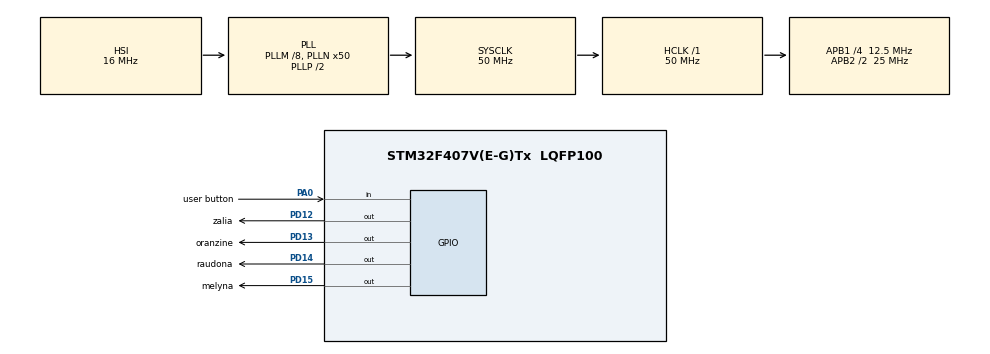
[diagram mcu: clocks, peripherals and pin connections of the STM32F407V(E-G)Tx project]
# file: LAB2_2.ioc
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Mcu.Family=STM32F4
Mcu.Name=STM32F407V(E-G)Tx
Mcu.Package=LQFP100
NVIC.PriorityGroup=NVIC_PRIORITYGROUP_0
PA0-WKUP.GPIO_Label=user button
PA0-WKUP.Signal=GPIO_Input
PD12.GPIO_Label=zalia
PD12.Signal=GPIO_Output
PD13.GPIO_Label=oranzine
PD13.Signal=GPIO_Output
PD14.GPIO_Label=raudona
PD14.Signal=GPIO_Output
PD15.GPIO_Label=melyna
PD15.Signal=GPIO_Output
ProjectManager.HeapSize=0x200
ProjectManager.StackSize=0x400
ProjectManager.TargetToolchain=STM32CubeIDE
RCC.48MHZClocksFreq_Value=14285714.285714285
RCC.AHBFreq_Value=50000000
RCC.APB1CLKDivider=RCC_HCLK_DIV4
RCC.APB1Freq_Value=12500000
RCC.APB1TimFreq_Value=25000000
RCC.APB2CLKDivider=RCC_HCLK_DIV2
RCC.APB2Freq_Value=25000000
RCC.APB2TimFreq_Value=50000000
RCC.CortexFreq_Value=50000000
RCC.HCLKFreq_Value=50000000
RCC.HSE_VALUE=8000000
RCC.HSI_VALUE=16000000
RCC.PLLM=8
RCC.PLLN=50
RCC.PLLQ=7
RCC.SYSCLKFreq_VALUE=50000000
RCC.SYSCLKSource=RCC_SYSCLKSOURCE_PLLCLK
RCC.VCOOutputFreq_Value=100000000
board=STM32F407G-DISC1

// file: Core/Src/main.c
/* USER CODE BEGIN Header */
/**
  ******************************************************************************
  * @file           : main.c
  * @brief          : Main program body
  ******************************************************************************
  * @attention
  *
  * Copyright (c) 2024 STMicroelectronics.
  * All rights reserved.
  *
  * This software is licensed under terms that can be found in the LICENSE file
  * in the root directory of this software component.
  * If no LICENSE file comes with this software, it is provided AS-IS.
  *
  ******************************************************************************
  */
/* USER CODE END Header */
#include "main.h"

/* USER CODE BEGIN PV */
uint32_t blink_frequency_ms = 1000; // Initial blinking frequency is 1 second
/* USER CODE END PV */

void SystemClock_Config(void);
void GPIO_Init(void);

int main(void)
{
  /* USER CODE BEGIN 1 */
	 uint8_t button_state = 0;
	 uint8_t last_button_state = 0;
  /* USER CODE END 1 */

  /* MCU Configuration--------------------------------------------------------*/

  /* Reset of all peripherals, Initializes the Flash interface and the Systick. */
  HAL_Init();

  /* Configure the system clock */
  SystemClock_Config();

  /* Initialize all configured peripherals */
  GPIO_Init();

  /* Infinite loop */
  while (1)
  {

    /* USER CODE BEGIN 3 */
	  //1.1
	  // Binary 0: Both LEDs off
//	         GPIOD->ODR &= ~(1 << 15); // Clear bit 15 of GPIOA_ODR
//	         GPIOD->ODR &= ~(1 << 12); // Clear bit 12 of GPIOB_ODR
//	         HAL_Delay(1000);
//
//	         // Binary 2: Blue LED on
//	         GPIOD->ODR |= (1 << 15);  // Set bit 15 of GPIOA_ODR
//	         GPIOD->ODR &= ~(1 << 12); // Clear bit 12 of GPIOB_ODR
//	         HAL_Delay(1000);
//
//	         // Binary 3: Both LEDs on
//	         GPIOD->ODR |= (1 << 15);  // Set bit 15 of GPIOA_ODR
//	         GPIOD->ODR |= (1 << 12);  // Set bit 12 of GPIOB_ODR
//	         HAL_Delay(1000);
	  //1.2
	  // Red LED (PD14) blinks every second
//	         GPIOD->ODR ^= (1 << 13); // Toggle bit 14 of GPIOD_ODR
//	         HAL_Delay(1000);
//
//	         // Orange LED (PD13) blinks every three seconds
//	         GPIOD->ODR ^= (1 << 14); // Toggle bit 13 of GPIOD_ODR
//	         HAL_Delay(2000);
//	         GPIOD->ODR ^= (1 << 14); // Toggle bit 13 of GPIOD_ODR again
//	         HAL_Delay(1000);
	 //1.3papildoma
	         // Check if the user button is pressed
//	                 if (GPIOA->IDR & (1 >> 0)) // Button is pressed
//	                 {
//	                     // Turn off the blue LED (PD15)
//	                     GPIOD->ODR |= (1 << 15);
//	                 }
//	                 else // Button is released
//	                 {
//	                     // Turn on the blue LED (PD15)
//	                     GPIOD->ODR &= ~(1 << 15);
//	                 }
   //1.4papildoma
	                 // Read the button state
	                         button_state = (GPIOA->IDR & GPIO_PIN_0) ? 1 : 0;

	                         // Check for button press
	                         if (button_state == 1 && last_button_state == 0) {
	                             // Increase the blinking frequency by 500ms
	                             blink_frequency_ms += 500;
	                             HAL_Delay(200); // Add a small delay to debounce the button
	                         }

	                         // Update last button state
	                         last_button_state = button_state;

	                         // Toggle the orange LED
	                         GPIOD->ODR ^= GPIO_PIN_13;

	                         // Wait according to the current blinking frequency
	                         HAL_Delay(blink_frequency_ms);
  }
  /* USER CODE END 3 */
}

void SystemClock_Config(void)
{
  RCC_OscInitTypeDef RCC_OscInitStruct = {0};
  RCC_ClkInitTypeDef RCC_ClkInitStruct = {0};

  /** Configure the main internal regulator output voltage
  */
  __HAL_RCC_PWR_CLK_ENABLE();
  __HAL_PWR_VOLTAGESCALING_CONFIG(PWR_REGULATOR_VOLTAGE_SCALE1);

  /** Initializes the RCC Oscillators according to the specified parameters
  * in the RCC_OscInitTypeDef structure.
  */
  RCC_OscInitStruct.OscillatorType = RCC_OSCILLATORTYPE_HSI;
  RCC_OscInitStruct.HSIState = RCC_HSI_ON;
  RCC_OscInitStruct.HSICalibrationValue = RCC_HSICALIBRATION_DEFAULT;
  RCC_OscInitStruct.PLL.PLLState = RCC_PLL_ON;
  RCC_OscInitStruct.PLL.PLLSource = RCC_PLLSOURCE_HSI;
  RCC_OscInitStruct.PLL.PLLM = 8;
  RCC_OscInitStruct.PLL.PLLN = 50;
  RCC_OscInitStruct.PLL.PLLP = RCC_PLLP_DIV2;
  RCC_OscInitStruct.PLL.PLLQ = 7;
  if (HAL_RCC_OscConfig(&RCC_OscInitStruct) != HAL_OK)
  {
    Error_Handler();
  }

  /** Initializes the CPU, AHB and APB buses clocks
  */
  RCC_ClkInitStruct.ClockType = RCC_CLOCKTYPE_HCLK|RCC_CLOCKTYPE_SYSCLK
                              |RCC_CLOCKTYPE_PCLK1|RCC_CLOCKTYPE_PCLK2;
  RCC_ClkInitStruct.SYSCLKSource = RCC_SYSCLKSOURCE_PLLCLK;
  RCC_ClkInitStruct.AHBCLKDivider = RCC_SYSCLK_DIV1;
  RCC_ClkInitStruct.APB1CLKDivider = RCC_HCLK_DIV4;
  RCC_ClkInitStruct.APB2CLKDivider = RCC_HCLK_DIV2;

  if (HAL_RCC_ClockConfig(&RCC_ClkInitStruct, FLASH_LATENCY_1) != HAL_OK)
  {
    Error_Handler();
  }
}

/* USER CODE BEGIN 4 */
void GPIO_Init(void)
{
	// Enable GPIOD and GPIOA clock
	    RCC->AHB1ENR |= RCC_AHB1ENR_GPIODEN | RCC_AHB1ENR_GPIOAEN;

	    // Configure GPIOA PIN_15 as output
	    GPIOD->MODER &= ~(3U << (15 * 2)); // Clear bits for pin 15
	    GPIOD->MODER |= (1U << (15 * 2));  // Set bit 1 for pin 15

	    // Configure GPIOB PIN_12 as output
	    GPIOD->MODER &= ~(3U << (12 * 2)); // Clear bits for pin 12
	    GPIOD->MODER |= (1U << (12 * 2));  // Set bit 1 for pin 12

	    // Configure GPIOD PIN_13, PIN_14 as output
	    GPIOD->MODER &= ~(0xFU << (13 * 2)); // Clear bits for pins 13, 14
	    GPIOD->MODER |= (0x5U << (13 * 2));  // Set bit 1 for pin 13, 14

	    // Configure GPIOA PIN_0 as input (user button)
	    GPIOA->MODER &= ~(3U << (0 * 2)); // Clear bits for pin 0
}
/* USER CODE END 4 */

void Error_Handler(void)
{
  __disable_irq();
  while (1)
  {
  }
}
